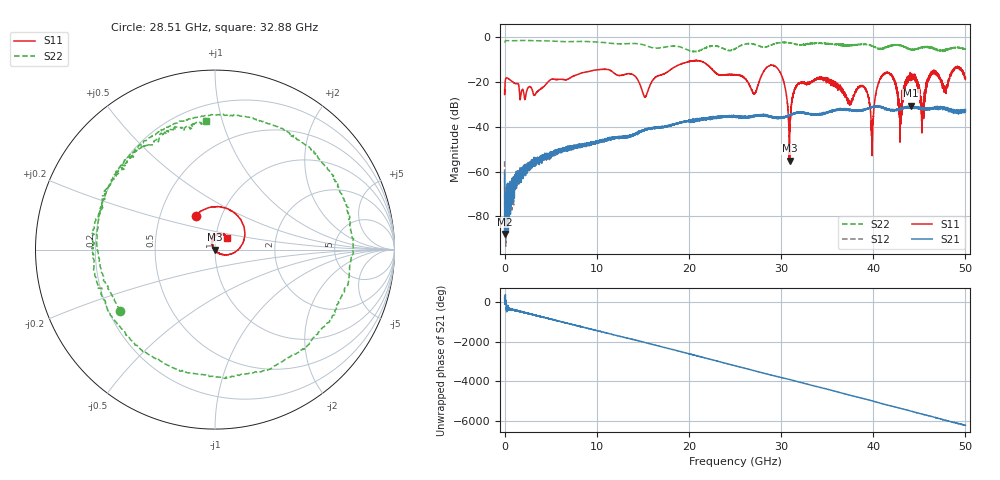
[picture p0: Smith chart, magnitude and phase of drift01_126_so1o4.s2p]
!Created with skrf (http://scikit-rf.org).
# Hz S RI R 50.0
!freq ReS11 ImS11 ReS21 ImS21 ReS12 ImS12 ReS22 ImS22
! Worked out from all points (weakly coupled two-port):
!   10001 points, 300 kHz to 50 GHz, reference 50 ohm
!   highest |S21| = -30.56 dB at 44.1 GHz (marker M1); lowest = -88.0 dB at 5.3 MHz (marker M2)
!   lowest |S11| = -55.2 dB at 30.92 GHz (marker M3), VSWR 1.00, Z = 49.8 + j0.0209 ohm
!   |S11| at or under -10 dB: start of sweep to end of sweep
!   |S22| runs from -6.4 to -1.4 dB; largest |S21 - S12| = 0.005
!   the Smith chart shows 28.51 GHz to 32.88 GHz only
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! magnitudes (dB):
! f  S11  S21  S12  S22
! 300 kHz  -23.4  -60.6  -55.4  -2.0
! 5.3 MHz  -25.6  -88.0  -75.8  -2.1
! 255.3 MHz  -18.1  -82.6  -70.7  -1.4
! 2.705 GHz  -22.0  -57.6  -58.0  -1.4
! 8.335 GHz  -16.0  -48.7  -48.7  -1.8
! 15.24 GHz  -26.5  -41.3  -41.1  -3.5
! 16.67 GHz  -17.1  -40.1  -40.3  -4.8
! 25 GHz  -16.7  -35.3  -35.6  -5.1
! 27.1 GHz  -25.2  -35.2  -35.2  -3.1
! 29.44 GHz  -13.1  -36.0  -36.0  -2.7
! 30.92 GHz  -55.2  -34.6  -34.6  -2.5
! 31.66 GHz  -21.6  -33.9  -33.6  -3.1
! 33.34 GHz  -19.6  -34.3  -34.4  -2.7
! 38.92 GHz  -22.0  -32.4  -32.4  -3.0
! 39.87 GHz  -46.4  -31.2  -31.0  -3.7
! 40.61 GHz  -20.1  -30.9  -30.8  -5.0
! 41.67 GHz  -15.9  -32.2  -32.2  -4.0
! 42.92 GHz  -46.8  -32.2  -32.1  -3.6
! 44.1 GHz  -17.5  -30.6  -31.1  -5.5
! 45.31 GHz  -37.5  -32.0  -31.9  -4.3
! 46.42 GHz  -15.2  -31.7  -31.6  -4.6
! 50 GHz  -17.9  -32.2  -33.1  -5.3
